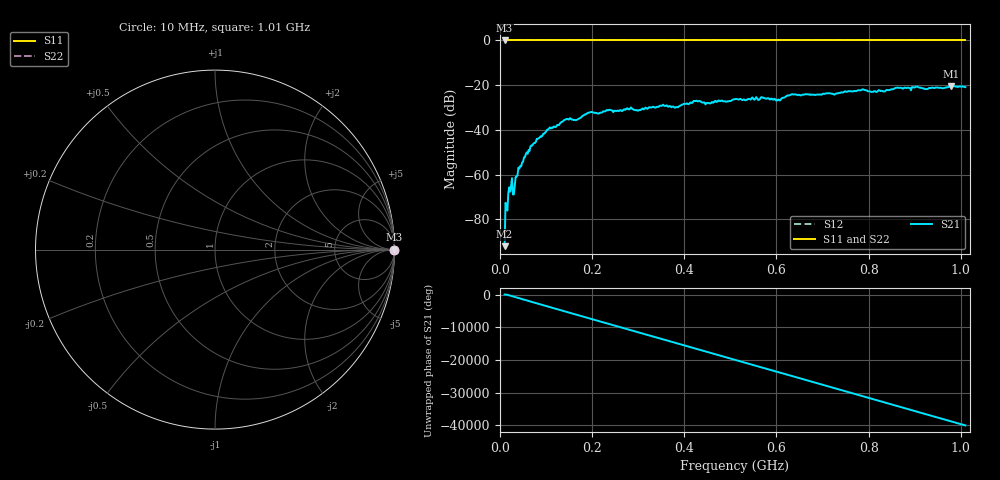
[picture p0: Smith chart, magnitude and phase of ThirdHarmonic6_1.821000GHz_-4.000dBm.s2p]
! 8/16/2025 10:03:51 PM
! C:\ANRITSUVNA\TEMP\TEMP.S2P
! CHANNEL.1
! TR.MEASUREMENT
! RAW.DATA
! RF.CORRECTION.OFF
! AVERAGING.OFF
! IF.BANDWIDTH: 5KHZ
! SWEEPTYPE:  FREQ.SWEEP(Linear)
! Reference Plane Port Info
! PORT:  PORT1  PORT2
! DISTANCE:  0  m  0  m
! TIME:  0  s  0  s
! PHASE.OFFSET:  0  deg.  0  deg.
! LOSS:  0  dB  0  dB
! REF.LOSS:  0  dB  0  dB
! REF.FREQ:  0  Hz  0  Hz
! Power Info
! POWER:  -20  dBm  -20  dBm
! EFF.POWER:  -20  dBm  -20  dBm
! SOURCE.ATTEN:  0  dB  0  dB
! TEST.ATTEN:  0  dB  0  dB
# GHZ S RI R 50.0
! FREQ.GHZ  S11RE  S11IM  S21RE  S21IM  S12RE  S12IM  S22RE  S22IM
!; PortSelection: Port_12
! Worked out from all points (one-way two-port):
!   501 points, 10 MHz to 1.01 GHz, reference 50 ohm
!   highest |S21| = -20.37 dB at 978 MHz (marker M1); lowest = -92.0 dB at 10 MHz (marker M2)
!   lowest |S11| = 0.0 dB at 10 MHz (marker M3)
!   |S11| at or under -10 dB: nowhere
!   |S22| runs from 0.0 to 0.0 dB; largest |S21 - S12| = 1.1
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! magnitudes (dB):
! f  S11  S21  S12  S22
! 10 MHz  0.0  -92.0  0.0  0.0
! 12 MHz  0.0  -72.6  0.0  0.0
! 22 MHz  0.0  -67.6  0.0  0.0
! 32 MHz  0.0  -64.9  0.0  0.0
! 38 MHz  0.0  -60.1  0.0  0.0
! 44 MHz  0.0  -56.1  0.0  0.0
! 70 MHz  0.0  -47.0  0.0  0.0
! 106 MHz  0.0  -39.5  0.0  0.0
! 142 MHz  0.0  -35.4  0.0  0.0
! 178 MHz  0.0  -34.0  0.0  0.0
! 196 MHz  0.0  -32.0  0.0  0.0
! 344 MHz  0.0  -29.7  0.0  0.0
! 382 MHz  0.0  -29.8  0.0  0.0
! 424 MHz  0.0  -27.1  0.0  0.0
! 450 MHz  0.0  -27.9  0.0  0.0
! 510 MHz  0.0  -26.3  0.0  0.0
! 604 MHz  0.0  -26.4  0.0  0.0
! 634 MHz  0.0  -24.0  0.0  0.0
! 678 MHz  0.0  -24.2  0.0  0.0
! 844 MHz  0.0  -22.2  0.0  0.0
! 978 MHz  0.0  -20.4  0.0  0.0
! 1.01 GHz  0.0  -20.9  0.0  0.0
